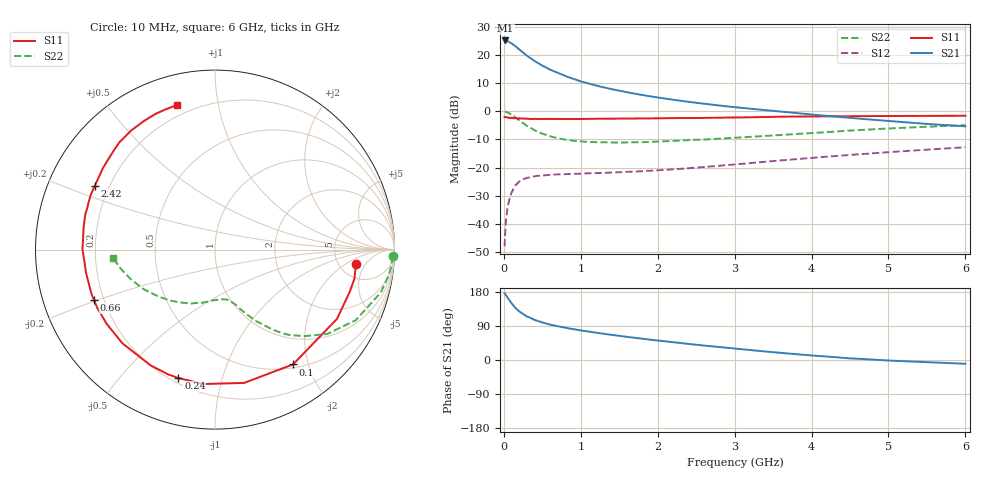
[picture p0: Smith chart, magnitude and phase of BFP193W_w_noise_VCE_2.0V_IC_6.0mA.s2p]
! Infineon Technologies  Discrete & RF Semiconductors
! BFP193W
! VCE = 2.0 V,  IC =  6.0 mA
! Common Emitter S-Parameters:  Jan 2016
# GHz  S  MA  R  50
!  f  S11  S21  S12  S22
! GHz  MAG  ANG  MAG  ANG  MAG  ANG  MAG  ANG
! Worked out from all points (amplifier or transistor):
!   210 points, 10 MHz to 6 GHz, reference 50 ohm
!   highest |S21| = 25.2 dB at 20 MHz (marker M1)
!   |S21| within 3 dB of that: start of sweep to 192 MHz
!   unconditionally stable (mu >= 1): 1.556 GHz to 4.687 GHz
!   at 185 MHz: K = 0.15, MSG = 23.9 dB, |S12| = -25.4 dB
!   at 1.52 GHz: K = 0.99, MSG = 14.4 dB, |S12| = -21.7 dB
!   at 6 GHz: K = 0.94, MSG = 3.7 dB, |S12| = -12.8 dB
!   lowest NFmin = 1.20 dB at 450 MHz
!   S11 on the Smith chart (normalised r, x): 10 MHz: 7.13, -3.05; 100 MHz: 0.55, -1.76; 240 MHz: 0.23, -0.73; 660 MHz: 0.16, -0.19; 2.42 GHz: 0.15, +0.24; 6 GHz: 0.14, +0.76
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0.01  0.7885 -5.9  18.14 176.0  0.004 85.4  0.9919 -2.2
0.02  0.7939 -11.8  18.17 173.5  0.0083 82.9  0.9846 -6.1
0.03  0.7861 -17.8  18.05 170.4  0.0123 81.2  0.9765 -8.8
0.05  0.7817 -29.6  17.69 164.0  0.0201 75.7  0.9545 -14.5
0.1  0.7734 -55.8  16.19 149.7  0.0359 63.4  0.8771 -26.7
0.15  0.7602 -77.7  14.41 137.6  0.0481 53.2  0.7817 -37.0
0.2  0.7518 -95.0  12.6 128.2  0.0561 45.8  0.6908 -44.3
0.24  0.744 -105.9  11.37 122.5  0.0606 40.8  0.6309 -48.9
0.3  0.738 -119.2  9.751 114.9  0.0654 35.7  0.5497 -54.2
0.4  0.7339 -134.6  7.824 105.7  0.0702 30.0  0.4595 -60.1
0.5  0.7318 -145.6  6.49 98.9  0.0726 27.1  0.4003 -64.0
0.6  0.732 -153.7  5.507 93.4  0.0744 25.0  0.3598 -67.0
0.66  0.7305 -157.5  5.085 90.9  0.0751 24.5  0.3427 -68.2
0.8  0.7282 -165.3  4.221 84.9  0.0766 24.0  0.3134 -71.3
1.02  0.73 -174.3  3.35 77.4  0.078 23.8  0.2897 -75.8
1.4  0.7388 174.2  2.478 66.3  0.0815 26.2  0.2794 -83.4
2.02  0.7518 159.8  1.742 51.0  0.0896 32.7  0.2912 -96.4
2.42  0.7584 152.0  1.461 42.0  0.0976 36.5  0.3085 -105.2
3.1  0.7793 139.7  1.147 28.2  0.1167 40.7  0.3438 -120.5
4.1  0.8119 124.1  0.852 10.6  0.1523 41.6  0.4177 -142.8
5.1  0.8259 112.8  0.656 -2.2  0.1917 38.5  0.5026 -162.0
6  0.8327 104.9  0.54 -9.9  0.2295 34.3  0.5677 -175.0
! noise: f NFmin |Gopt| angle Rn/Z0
0.45  1.2  0.25  114  0.13
0.9  1.25  0.37  150  0.12
1.8  2  0.55  -158  0.12
